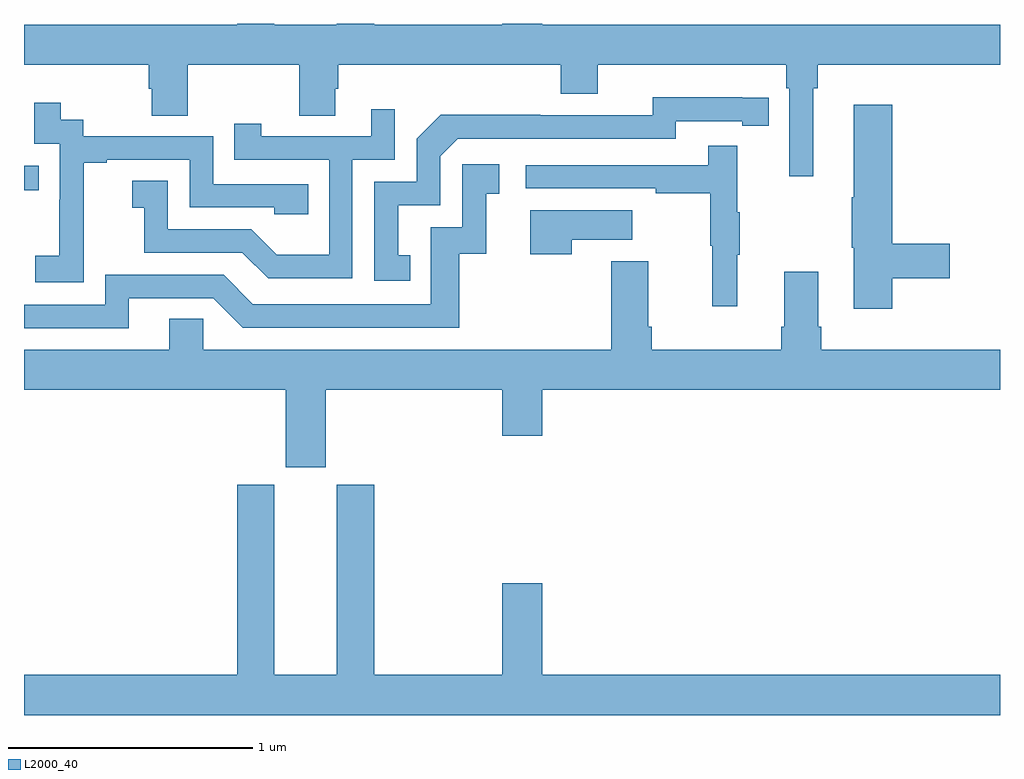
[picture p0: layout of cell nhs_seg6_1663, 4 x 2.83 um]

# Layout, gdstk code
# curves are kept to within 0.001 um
import gdstk
lib = gdstk.Library(unit=1e-6, precision=1e-09)
def R(c, l, rs):  # rectangles x0, y0, x1, y1
    for r in rs: c.add(gdstk.rectangle(r[:2], r[2:], *l))
def P(c, l, *ps):  # polygons
    for p in ps: c.add(gdstk.Polygon(p, *l))
L2000_40 = (2000, 40)

nhs_seg6_1663 = lib.new_cell('nhs_seg6_1663')
R(nhs_seg6_1663, L2000_40, [(211,950.818,211.061,950.919)])
P(nhs_seg6_1663, L2000_40, [(214.234,951.236),(214.253,951.236),(214.253,951.332),(215,951.332),(215,951.496),(213.124,951.496),(213.124,951.5),(212.96,951.5),(212.96,951.496),(212.435,951.496),(212.435,951.5),(212.282,951.5),(212.282,951.496),(212.026,951.496),(212.026,951.5),(211.874,951.5),(211.874,951.496),(211,951.496),(211,951.332),(211.511,951.332),(211.511,951.234),(211.523,951.234),(211.523,951.124),(211.671,951.124),(211.671,951.332),(212.128,951.332),(212.128,951.124),(212.275,951.124),(212.275,951.234),(212.288,951.234),(212.288,951.332),(213.2,951.332),(213.2,951.215),(213.352,951.215),(213.352,951.332),(214.124,951.332),(214.124,951.236),(214.137,951.236),(214.137,950.877),(214.234,950.877)],
  [(212.582,950.553),(212.533,950.553),(212.533,950.757),(212.706,950.757),(212.706,950.958),(212.778,951.03),(213.672,951.03),(213.672,951.102),(213.944,951.102),(213.944,951.082),(214.052,951.082),(214.052,951.198),(213.576,951.199),(213.576,951.126),(213.116,951.126),(213.116,951.128),(212.708,951.128),(212.61,951.03),(212.61,950.853),(212.436,950.853),(212.436,950.448),(212.582,950.448)],
  [(211.245,950.647),(211.244,950.647),(211.244,950.931),(211.339,950.931),(211.339,950.943),(211.68,950.943),(211.68,950.748),(212.025,950.748),(212.025,950.721),(212.165,950.721),(212.165,950.844),(211.776,950.844),(211.776,951.039),(211.242,951.039),(211.242,951.108),(211.15,951.108),(211.15,951.178),(211.041,951.178),(211.041,951.009),(211.146,951.009),(211.146,950.78),(211.145,950.78),(211.145,950.551),(211.047,950.551),(211.047,950.441),(211.245,950.441)],
  [(214.559,950.458),(214.795,950.458),(214.795,950.6),(214.559,950.6),(214.559,951.169),(214.4,951.169),(214.4,950.789),(214.393,950.789),(214.393,950.583),(214.4,950.583),(214.4,950.334),(214.559,950.334)],
  [(212.346,950.943),(212.52,950.943),(212.52,951.151),(212.423,951.151),(212.423,951.039),(211.972,951.039),(211.972,951.091),(211.861,951.091),(211.861,950.943),(212.25,950.943),(212.25,950.554),(212.036,950.554),(211.932,950.658),(211.59,950.658),(211.59,950.857),(211.443,950.857),(211.443,950.747),(211.492,950.747),(211.492,950.562),(211.895,950.562),(212,950.457),(212.346,950.457)],
  [(213.923,950.555),(213.934,950.555),(213.934,950.729),(213.923,950.729),(213.923,951.001),(213.805,951.001),(213.805,950.922),(213.057,950.922),(213.057,950.826),(213.589,950.826),(213.589,950.806),(213.813,950.806),(213.813,950.592),(213.82,950.592),(213.82,950.343),(213.923,950.343)],
  [(211.429,950.376),(211.776,950.376),(211.896,950.256),(212.783,950.256),(212.783,950.559),(212.894,950.559),(212.894,950.805),(212.947,950.805),(212.947,950.926),(212.796,950.926),(212.796,950.667),(212.667,950.667),(212.667,950.352),(211.938,950.352),(211.818,950.472),(211.332,950.472),(211.332,950.349),(211,950.349),(211,950.253),(211.429,950.253)],
  [(213.245,950.615),(213.493,950.615),(213.493,950.737),(213.074,950.737),(213.074,950.556),(213.245,950.556)],
  [(212.236,950),(212.96,950),(212.96,949.812),(213.124,949.812),(213.124,950),(215,950),(215,950.164),(214.268,950.164),(214.268,950.26),(214.255,950.26),(214.255,950.485),(214.115,950.485),(214.115,950.26),(214.103,950.26),(214.103,950.164),(213.572,950.164),(213.572,950.26),(213.559,950.26),(213.559,950.527),(213.407,950.527),(213.407,950.164),(211.734,950.164),(211.734,950.291),(211.595,950.291),(211.595,950.164),(211,950.164),(211,950),(212.072,950),(212.072,949.683),(212.236,949.683)],
  [(215,948.832),(213.124,948.832),(213.124,949.207),(212.96,949.207),(212.96,948.832),(212.435,948.832),(212.435,949.611),(212.282,949.611),(212.282,948.832),(212.026,948.832),(212.026,949.611),(211.874,949.611),(211.874,948.832),(211,948.832),(211,948.668),(215,948.668)])

lib.write_gds('nhs_seg6_1663.gds')
